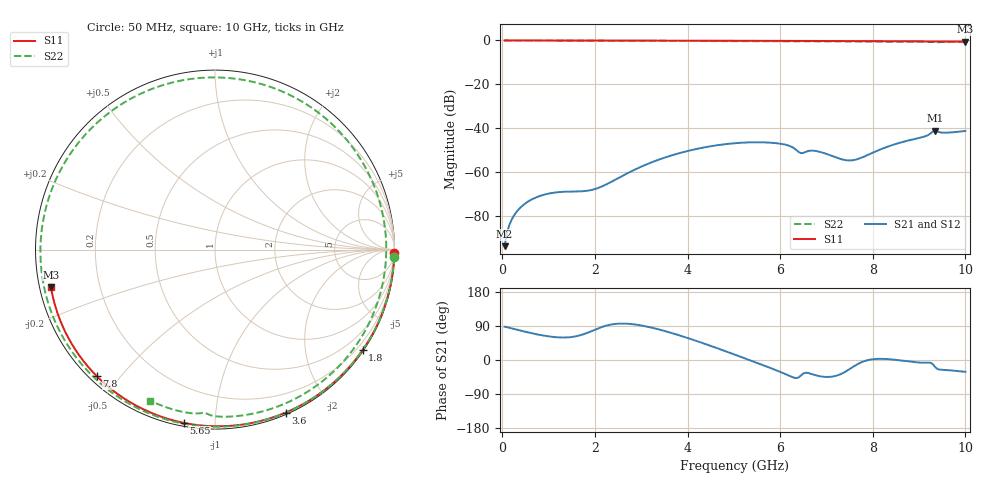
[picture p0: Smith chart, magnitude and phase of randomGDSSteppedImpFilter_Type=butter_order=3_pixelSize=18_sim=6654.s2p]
! freq	dB(S11)	phase(S11)	dB(S12)	phase(S12)
!  dB(S21)	phase(S21)	dB(S22)	phase(S22)
!S-par simulation data
#  GHz  S  DB  R 50
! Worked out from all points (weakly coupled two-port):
!   200 points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, 50 MHz to 10 GHz, reference 50 ohm
!   highest |S21| = -41.04 dB at 9.35 GHz (marker M1); lowest = -93.6 dB at 50 MHz (marker M2)
!   lowest |S11| = -0.6 dB at 10 GHz (marker M3), VSWR 31.06, Z = 1.63 - j5.63 ohm
!   |S11| at or under -10 dB: nowhere
!   |S22| runs from -0.8 to 0.0 dB; largest |S21 - S12| = 0
!   S11 on the Smith chart (normalised r, x): 50 MHz: open; 1.8 GHz: 0.03, -3.24; 3.6 GHz: 0.02, -1.52; 5.65 GHz: 0.02, -0.83; 7.8 GHz: 0.02, -0.43; 10 GHz: 0.03, -0.11
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0.05  -0.00 -1.0  -93.58 87.9  -93.58 87.9  -0.01 -2.3
0.25  -0.01 -4.8  -79.74 82.0  -79.74 82.0  -0.02 -11.4
0.5  -0.01 -9.7  -74.10 74.5  -74.10 74.5  -0.03 -22.8
0.85  -0.02 -16.4  -70.49 65.3  -70.49 65.3  -0.05 -38.6
1.75  -0.04 -33.3  -68.57 67.8  -68.57 67.8  -0.10 -78.9
1.8  -0.04 -34.3  -68.47 70.0  -68.47 70.0  -0.10 -81.1
2.55  -0.06 -48.0  -62.10 96.1  -62.10 96.1  -0.15 -114.7
3.4  -0.08 -63.1  -54.08 80.1  -54.08 80.1  -0.20 -154.1
3.6  -0.09 -66.6  -52.66 73.3  -52.66 73.3  -0.21 -163.8
4.3  -0.11 -78.4  -48.89 45.8  -48.89 45.8  -0.27 160.5
5.05  -0.14 -90.7  -46.70 12.9  -46.70 12.9  -0.33 118.5
5.65  -0.17 -100.3  -46.36 -14.5  -46.36 -14.5  -0.37 82.8
6.15  -0.19 -108.1  -47.62 -39.1  -47.62 -39.1  -0.39 52.8
6.45  -0.22 -112.7  -51.28 -40.9  -51.28 -40.9  -0.40 35.3
6.7  -0.23 -116.5  -50.11 -37.9  -50.11 -37.9  -0.40 21.2
7.05  -0.25 -121.8  -52.00 -44.6  -52.00 -44.6  -0.41 2.4
7.45  -0.28 -127.9  -54.55 -27.8  -54.55 -27.8  -0.42 -17.5
7.8  -0.31 -133.1  -52.97 -3.8  -52.97 -3.8  -0.44 -33.6
8.35  -0.36 -141.4  -48.10 2.1  -48.10 2.1  -0.49 -56.5
8.9  -0.42 -149.7  -44.85 -5.6  -44.85 -5.6  -0.56 -77.1
9.35  -0.47 -156.7  -41.04 -19.1  -41.04 -19.1  -0.78 -93.0
10  -0.56 -167.1  -41.19 -31.3  -41.19 -31.3  -0.76 -113.2
